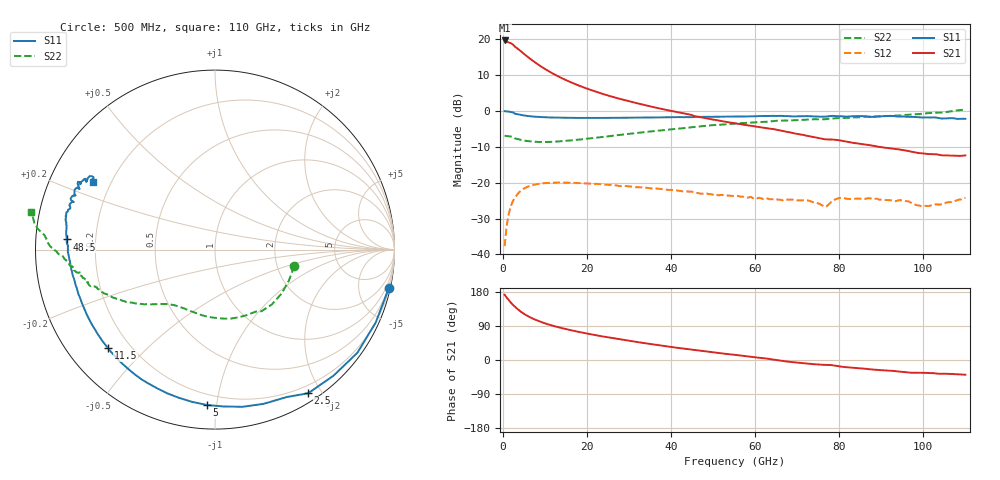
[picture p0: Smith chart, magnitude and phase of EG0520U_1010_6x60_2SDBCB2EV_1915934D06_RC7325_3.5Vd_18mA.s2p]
!File name = EG0520U_1010_6x60_2SDBCB2EV_1915934D06_RC7325_3.5Vd_18mA.s2p
!Base file name = EG0520U_1010_6x60_2SDBCB2EV_1915934D06_RC7325
!Date = 8/23/2019
!Time = 1:09 PM
!Test duration(min) = 0.15
!Test = S-Parameters
!MPTS version = 8.91.5
!State File = C:\Data\PNA\20190821205423\S-Parameters_2019-08-23.sta
!Cal File =
!ComputerName = CMPE-LAB-6
!Comments =
!Attenuation = 0
!Z0 = 50
!Input Power(dBm) = -13.00
!Device ID = EG0520U_1010_6x60_2SDBCB2EV
!Row = 73
!Column = 25
!Technology = QPHT09
!Lot/Wafer = 1915934D06
!Gate Size = 360
!Mask = EG0520
!Cal Standards = GaAs BCB
!Cal Kit = EG2306
!Job Number = 20190821205423
!Device Type = FET
!set_Vg(v) = -1.500
!set_Vd(v) = 3.500
!set_Vd(mA) = 18.000
!file_name = EG0520U_1010_6x60_2SDBCB2EV_1915934D06_RC7325_3.5Vd_18mA.s2p
!Vd(V) = 3.500
!Vd(mA) = 18.127
!Vg(V) = -0.661
!Vg(mA) = -0.006
# GHz  S  DB  R  50
!%	Freq(GHz)  s11(dB)  s11(deg)  s21(dB)  s21(deg)  s12(dB)  s12(deg)  s22(dB)  s22(deg)
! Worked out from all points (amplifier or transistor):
!   220 points, 500 MHz to 110 GHz, reference 50 ohm
!   highest |S21| = 19.7 dB at 500 MHz (marker M1)
!   |S21| within 3 dB of that: start of sweep to 4.337 GHz
!   unconditionally stable (mu >= 1): 37.92 GHz to 102.2 GHz
!   at 18.5 GHz: K = 0.48, MSG = 13.5 dB, |S12| = -20.1 dB
!   at 55.5 GHz: K = 1.39, MAG = 6.4 dB, |S12| = -23.7 dB
!   at 110 GHz: K = -1.98, MSG = 5.9 dB, |S12| = -24.2 dB
!   S11 on the Smith chart (normalised r, x): 500 MHz: 0.34, -9.27; 2.5 GHz: 0.10, -1.84; 5 GHz: 0.13, -0.94; 11.5 GHz: 0.12, -0.38; 48.5 GHz: 0.09, +0.03; 110 GHz: 0.13, +0.26
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0.5  -0.07 -12.3  19.66 172.2  -37.72 81.4  -6.93 -11.7
1  -0.14 -24.4  19.36 164.5  -31.88 75.1  -7.00 -22.6
2  -0.32 -46.8  18.87 151.2  -26.51 62.4  -7.13 -44.0
2.5  -0.41 -57.0  18.51 145.3  -25.04 57.0  -7.33 -53.0
3  -0.79 -64.1  17.90 140.0  -24.15 52.6  -7.68 -56.8
3.5  -0.91 -72.5  17.46 135.1  -23.30 48.3  -7.83 -64.0
4.5  -1.16 -86.8  16.49 126.3  -22.12 40.7  -8.08 -76.6
5  -1.24 -93.0  16.01 122.6  -21.72 37.5  -8.20 -81.9
6  -1.41 -103.7  15.07 115.9  -21.13 32.0  -8.41 -91.0
7.5  -1.58 -116.3  13.73 107.7  -20.59 25.5  -8.57 -101.5
9.5  -1.73 -128.4  12.13 99.1  -20.19 19.0  -8.67 -110.6
11.5  -1.83 -137.5  10.72 91.9  -20.03 14.0  -8.63 -117.5
14.5  -1.90 -147.3  8.92 83.1  -19.99 8.4  -8.40 -124.5
19  -1.95 -157.1  6.68 72.2  -20.15 2.1  -7.89 -131.0
27  -1.91 -167.7  3.65 56.2  -20.76 -4.9  -6.81 -138.2
37  -1.79 -176.0  0.78 39.2  -21.68 -9.6  -5.50 -145.5
48.5  -1.63 176.1  -2.07 22.2  -23.02 -12.5  -4.14 -154.3
55.5  -1.56 171.8  -3.48 13.2  -23.68 -14.1  -3.50 -158.9
73.5  -1.50 162.0  -7.19 -10.7  -25.34 -21.0  -2.32 -169.3
92  -1.44 153.6  -10.41 -28.3  -24.91 -29.6  -1.39 -177.6
101  -1.82 152.2  -12.00 -34.3  -26.53 -30.1  -0.63 177.9
110  -2.19 150.9  -12.40 -38.8  -24.23 -26.5  0.39 168.5
